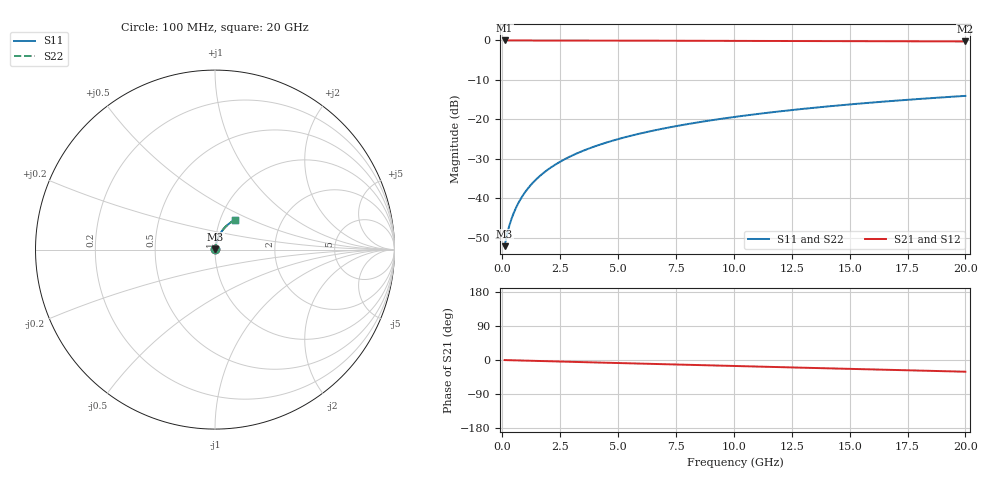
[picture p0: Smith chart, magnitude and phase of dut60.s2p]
! Touchstone file exported from HFSS 2026.1.0
!  File:  C:/ffzhzh/LocalFiles/Ansys_Project_Files/temp_train_BSMRDL_60_1782882690_13352.aedt
!  Generated:  01:12:46 PM Jul  1, 2026
!  Design:  BSMRDL
!  Project:  temp_train_BSMRDL_60_1782882690_13352
! Variables:
!  h_bsmrdl = 5.01um
!  h_ox = 20um
!  h_rdl = 5um
!  h_sub = 80um
!  h_tmrdl = 5um
!  h_tsv = 80um
!  h_via = 3um
!  l_bsmrdl = 503.71um
!  l_sub = 903.71um
!  l_tmrdl = 200um
!  m_sub = 200um
!  pitch = 32.13um
!  r_tsv = 6um
!  s_tmrdl = 10um
!  w_bsmrdl = 18.82um
!  w_sub = 500um
!  w_tmrdl = 12um
!  x_tsv_center1 = 206um
!  x_tsv_center2 = 728.53um
!  x_tsv_center3 = 940.53um
!  x_tsv_center4 = 1463.06um
!  x_tsv_center5 = 1675.06um
!  x_tsv_center6 = 2197.59um
# GHz S MA R 50.000000
! Terminal data exported
! Port[1] = BSM_RDL1_1_T1
! Port[2] = BSM_RDL1_1_T2
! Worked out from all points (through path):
!   200 points, 100 MHz to 20 GHz, reference 50 ohm
!   highest |S21| = -0.02 dB at 100 MHz (marker M1); lowest = -0.3 dB at 20 GHz (marker M2)
!   group delay of S21, straight-line fit = 4.28 ps
!   lowest |S11| = -52.1 dB at 100 MHz (marker M3), VSWR 1.00, Z = 50.2 + j0.138 ohm
!   |S11| at or under -10 dB: start of sweep to end of sweep
!   |S22| runs from -52.1 to -14.1 dB; largest |S21 - S12| = 2.7e-15
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0.1  0.002476 33.6  0.9979 -0.2  0.9979 -0.2  0.002476 33.6
! Gamma 0 0 0 0
! Port Impedance 50 0 50 0
0.2  0.003441 49.6  0.9978 -0.3  0.9978 -0.3  0.003441 49.6
0.3  0.004472 57.9  0.9977 -0.5  0.9977 -0.5  0.004472 57.9
0.4  0.005519 63.2  0.9976 -0.7  0.9976 -0.7  0.005519 63.2
0.5  0.006586 66.9  0.9975 -0.8  0.9975 -0.8  0.006586 66.9
0.6  0.00767 69.6  0.9974 -1.0  0.9974 -1.0  0.00767 69.6
0.8  0.009881 73.2  0.9973 -1.3  0.9973 -1.3  0.009881 73.2
1  0.01213 75.4  0.9972 -1.6  0.9972 -1.6  0.01213 75.4
1.2  0.01439 76.8  0.9971 -2.0  0.9971 -2.0  0.01439 76.8
1.4  0.01666 77.7  0.997 -2.3  0.997 -2.3  0.01666 77.7
1.7  0.02006 78.4  0.9967 -2.8  0.9967 -2.8  0.02006 78.4
2.2  0.02571 78.9  0.9963 -3.6  0.9963 -3.6  0.02571 78.9
2.8  0.03241 78.8  0.9957 -4.5  0.9957 -4.5  0.03241 78.8
3.5  0.0401 78.2  0.9949 -5.7  0.9949 -5.7  0.0401 78.2
4.2  0.04767 77.5  0.9941 -6.8  0.9941 -6.8  0.04767 77.5
5  0.05618 76.5  0.9931 -8.0  0.9931 -8.0  0.05618 76.5
6.8  0.07488 74.2  0.9907 -10.8  0.9907 -10.8  0.07488 74.2
8.3  0.09009 72.2  0.9887 -13.2  0.9887 -13.2  0.09009 72.2
10.1  0.108 69.8  0.9861 -15.9  0.9861 -15.9  0.108 69.8
13.4  0.1396 65.3  0.981 -21.0  0.981 -21.0  0.1396 65.2
16.7  0.1698 60.6  0.9753 -26.0  0.9753 -26.0  0.1698 60.6
20  0.1982 56.0  0.9692 -30.9  0.9692 -30.9  0.1982 56.0
